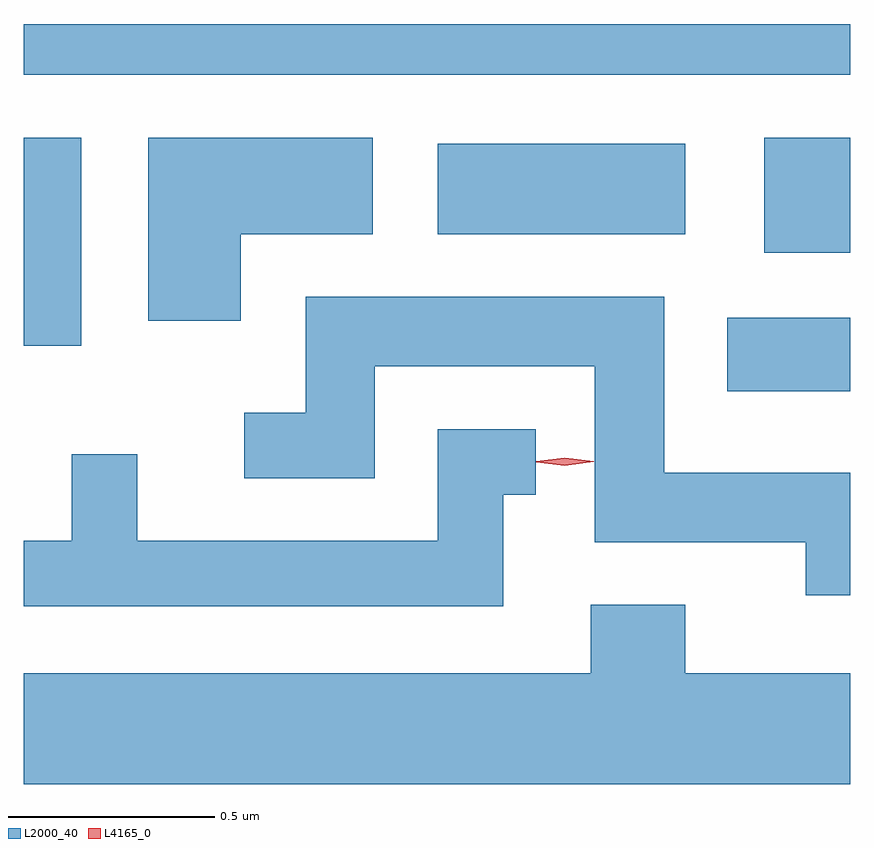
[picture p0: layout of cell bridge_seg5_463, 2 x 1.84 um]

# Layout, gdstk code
import gdstk
lib = gdstk.Library(unit=1e-6, precision=1e-09)
def R(c, l, rs):  # rectangles x0, y0, x1, y1
    for r in rs: c.add(gdstk.rectangle(r[:2], r[2:], *l))
def P(c, l, *ps):  # polygons
    for p in ps: c.add(gdstk.Polygon(p, *l))
L2000_40 = (2000, 40)
L4165_0 = (4165, 0)

bridge_seg5_463 = lib.new_cell('bridge_seg5_463')
R(bridge_seg5_463, L2000_40, [(373.631,1506.586,373.929,1506.764), (371.929,1506.696,372.069,1507.199), (373.721,1506.921,373.929,1507.199), (372.931,1506.966,373.529,1507.184), (371.929,1507.351,373.929,1507.474)])
P(bridge_seg5_463, L2000_40, [(372.454,1506.966),(372.774,1506.966),(372.774,1507.199),(372.231,1507.199),(372.231,1506.756),(372.454,1506.756)],
  [(373.929,1506.389),(373.479,1506.389),(373.479,1506.814),(372.611,1506.814),(372.611,1506.534),(372.463,1506.534),(372.463,1506.376),(372.779,1506.376),(372.779,1506.646),(373.311,1506.646),(373.311,1506.221),(373.821,1506.221),(373.821,1506.093),(373.929,1506.093)],
  [(373.089,1506.336),(373.168,1506.336),(373.168,1506.494),(372.931,1506.494),(372.931,1506.224),(372.204,1506.224),(372.204,1506.433),(372.046,1506.433),(372.046,1506.224),(371.929,1506.224),(371.929,1506.066),(373.089,1506.066)],
  [(373.929,1505.904),(373.529,1505.904),(373.529,1506.069),(373.301,1506.069),(373.301,1505.904),(371.929,1505.904),(371.929,1505.636),(373.929,1505.636)])
P(bridge_seg5_463, L4165_0, [(373.238,1506.406),(373.169,1506.414),(373.169,1506.415),(373.169,1506.416),(373.238,1506.425),(373.308,1506.416),(373.308,1506.416),(373.308,1506.415)])

lib.write_gds('bridge_seg5_463.gds')
